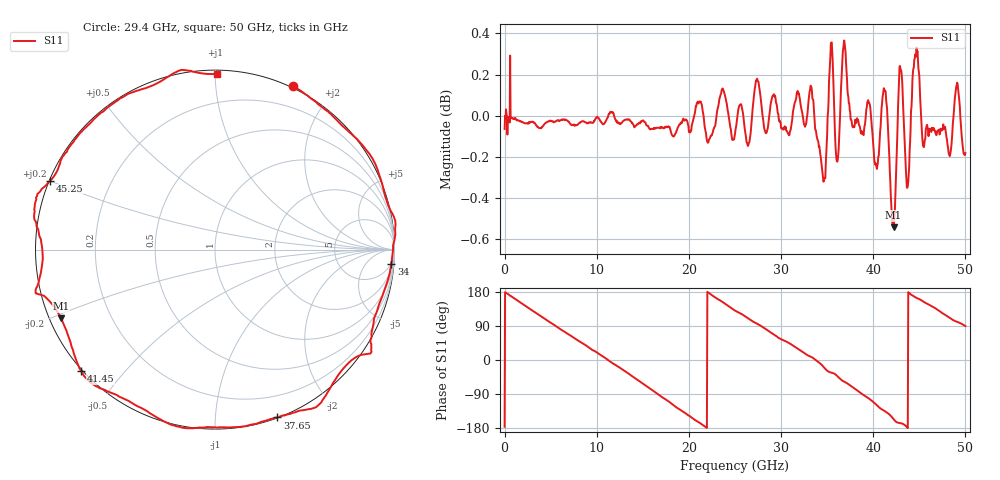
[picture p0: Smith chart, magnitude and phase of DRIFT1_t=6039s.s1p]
!Created with skrf (http://scikit-rf.org).
# Hz S RI R 50.0
!freq ReS11 ImS11
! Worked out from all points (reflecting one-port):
!   1001 points, 300 kHz to 50 GHz, reference 50 ohm
!   lowest |S11| = -0.5 dB at 42.2 GHz (marker M1), VSWR 32.01, Z = 1.63 - j10.7 ohm
!   phase of S11 starts at -176 deg and turns -814 deg over the sweep
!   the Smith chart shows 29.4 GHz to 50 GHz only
!   S11 on the Smith chart (normalised r, x): 29.4 GHz: -0.02, +1.59; 34 GHz: 4, -24; 37.65 GHz: 0.00, -1.44; 41.45 GHz: -0.00, -0.38; 45.25 GHz: 0.00, +0.20; 50 GHz: 0.02, +1.01
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300000  -0.9904 -0.0667
1.550291e9  -0.8991 0.4311
3.30028e9  -0.5813 0.8085
4.800271e9  -0.2001 0.9766
6.250262e9  0.2004 0.9773
9.500243e9  0.8898 0.4478
1.115023e10  0.9986 0.0211
1.250022e10  0.9333 -0.3467
1.580021e10  0.2432 -0.9621
1.73502e10  -0.2078 -0.9716
1.875019e10  -0.5938 -0.7958
2.155017e10  -0.9915 -0.1364
2.350016e10  -0.9213 0.4201
2.500015e10  -0.6413 0.7541
2.735014e10  -0.1112 1.014
2.940012e10  0.4372 0.9103
3.125011e10  0.7806 0.6255
3.40001e10  0.9831 -0.0784
3.520009e10  0.8713 -0.5286
3.750008e10  0.3877 -0.9241
3.765007e10  0.3469 -0.9349
3.950006e10  -0.1952 -0.9882
4.145005e10  -0.7471 -0.6748
4.220005e10  -0.8575 -0.3838
4.375004e10  -0.9615 -0.00656
4.525003e10  -0.9168 0.3847
4.770001e10  -0.5073 0.8535
5e10  0.0089 0.9792
